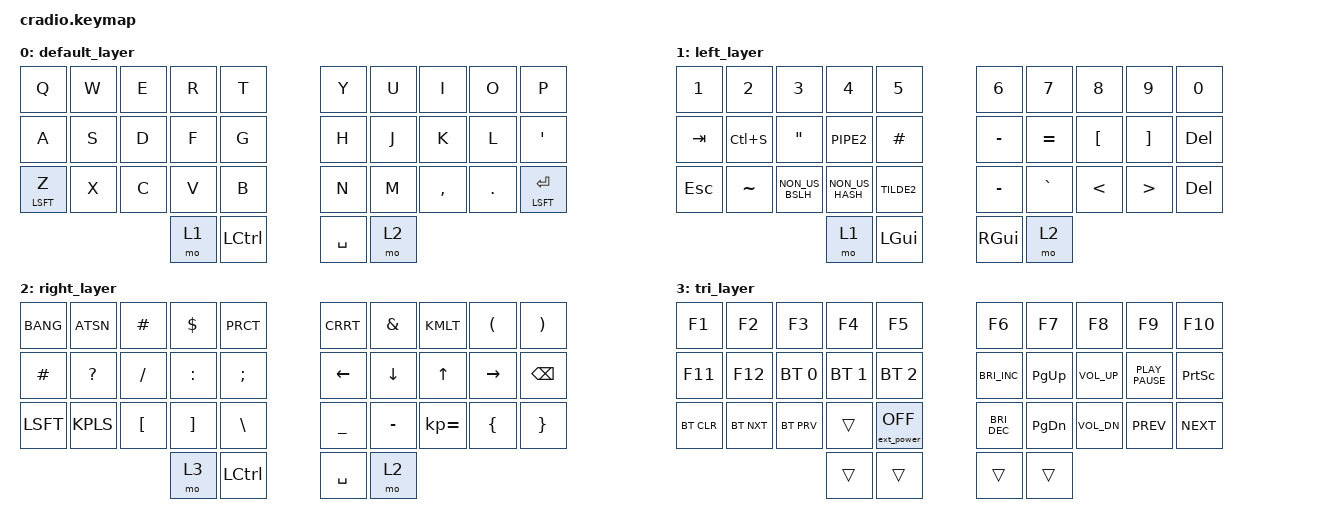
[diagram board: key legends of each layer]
/*
 * Copyright (c) 2020 The ZMK Contributors
 *
 * SPDX-License-Identifier: MIT
 */

#include <behaviors.dtsi>
#include <dt-bindings/zmk/keys.h>
#include <dt-bindings/zmk/bt.h>
#include <dt-bindings/zmk/ext_power.h>


&mt {
  //  flavor = "tap-preferred";
   // tapping_term_ms = <200>;
};

/ { 

    combos {
        compatible = "zmk,combos";
        combo_esc {
            timeout-ms = <50>;
            key-positions = <0 1>;
            bindings = <&kp ESC>;
        };

         combo_caps {
            timeout-ms = <50>;
            key-positions = <32 33>;
            bindings = <&kp CAPS>;
        };

         combo_tab {
            timeout-ms = <50>;
            key-positions = <10 11>;
            bindings = <&kp TAB>;
        };
        
            combo_ralt {
            timeout-ms = <50>;
            key-positions = <17 16>;
            bindings = <&kp RALT>;
        };
        
                    combo_lalt {
            timeout-ms = <50>;
            key-positions = <11 12>;
            bindings = <&kp LALT>;
        };
        
                           combo_lgui {
            timeout-ms = <50>;
            key-positions = <12 13>;
            bindings = <&kp LGUI>;
        };
        
        
           combo_rgui {
            timeout-ms = <50>;
            key-positions = <17 18>;
            bindings = <&kp RGUI>;
        };
        

        
    };

        keymap {
                compatible = "zmk,keymap";
                
       		default_layer {
		bindings = <
		&kp Q &kp W &kp E &kp R &kp T 						&kp Y &kp U  &kp I    &kp O   &kp P 
		&kp A &kp S &kp D &kp F &kp G 			        	        &kp H &kp J &kp K &kp L &kp QUOT
		&mt LSFT Z &kp X &kp C &kp V &kp B				        &kp N &kp M  &kp CMMA &kp DOT &mt LSFT RET
          				&mo 1 &kp LCTL  				&kp SPC &mo 2 
		>;
		};

       		left_layer {
		bindings = <
		&kp NUM_1  &kp NUM_2    &kp NUM_3    &kp NUM_4    &kp NUM_5		&kp NUM_6 &kp NUM_7 &kp NUM_8 &kp NUM_9 &kp NUM_0 
		&kp TAB    &kp LC(S)    &kp DQT      &kp PIPE2     &kp HASH 		&kp MINUS &kp EQL  &kp LBKT &kp RBKT  &kp DEL 
		&kp ESC    &kp TILDE 	&kp NON_US_BSLH &kp NON_US_HASH  &kp TILDE2 	&kp MINUS &kp GRAVE &kp LT &kp GT  &kp DEL 
					    &mo 1  &kp LGUI  					&kp RGUI &mo 2 
		>;
		};
		
		right_layer {
		bindings = <
		&kp BANG  &kp ATSN &kp HASH  &kp DLLR  &kp PRCT    			&kp CRRT  &kp AMPS &kp KMLT &kp LPRN &kp RPRN 
		&kp HASH  &kp QMARK  &kp FSLH  &kp COLN  &kp SCLN 			&kp LEFT  &kp DOWN  &kp UP  &kp RIGHT   &kp BKSP
		&kp LSFT  &kp KPLS &kp LBKT &kp RBKT   &kp BSLH    			&kp UNDER &kp MINUS &kp KP_EQUAL &kp LBRC  &kp RBRC
					  &mo 3 &kp LCTL  				&kp SPC  &mo 2 
		>;
		};	
		
		tri_layer {
		bindings = <
		&kp F1  &kp F2    &kp F3   &kp F4    &kp F5 			        &kp F6 &kp F7   &kp F8   &kp F9  &kp F10
		&kp F11 &kp F12 &bt BT_SEL 0 &bt BT_SEL 1 &bt BT_SEL 2  		&kp C_BRI_INC &kp PG_UP  &kp K_VOL_UP &kp K_PLAY_PAUSE &kp PSCRN 
		&bt BT_CLR  &bt BT_NXT &bt BT_PRV &trans &ext_power EP_OFF   		&kp C_BRI_DEC &kp PG_DN  &kp K_VOL_DN  &kp C_PREV &kp C_NEXT   
					 &trans &trans  					&trans &trans 
		>;
		};	
        
	};
};
